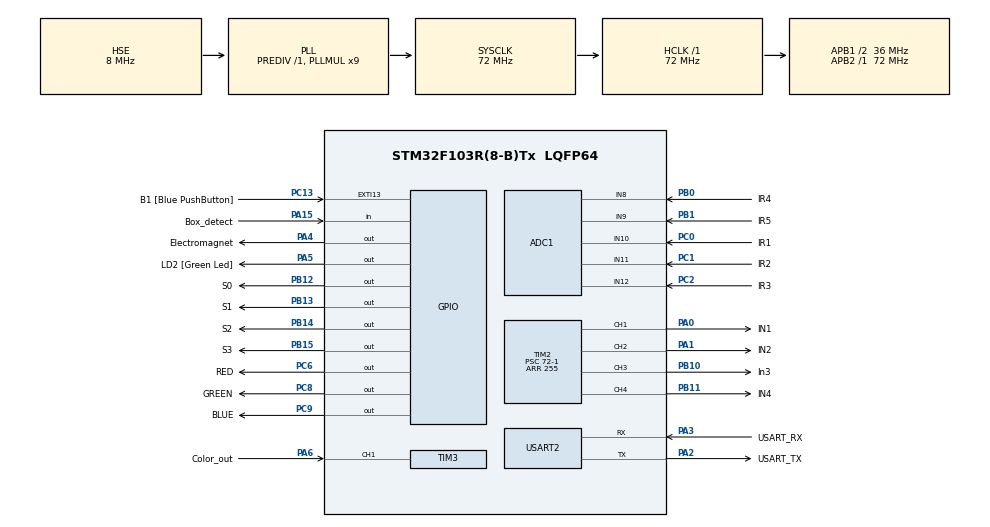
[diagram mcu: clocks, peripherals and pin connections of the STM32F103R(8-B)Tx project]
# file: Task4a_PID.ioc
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ADC1.Channel-0\#ChannelRegularConversion=ADC_CHANNEL_10
ADC1.Channel-1\#ChannelRegularConversion=ADC_CHANNEL_11
ADC1.Channel-2\#ChannelRegularConversion=ADC_CHANNEL_12
ADC1.Channel-3\#ChannelRegularConversion=ADC_CHANNEL_8
ADC1.Channel-4\#ChannelRegularConversion=ADC_CHANNEL_9
ADC1.ContinuousConvMode=ENABLE
ADC1.NbrOfConversion=5
ADC1.NbrOfConversionFlag=1
ADC1.Rank-0\#ChannelRegularConversion=1
ADC1.Rank-1\#ChannelRegularConversion=2
ADC1.Rank-2\#ChannelRegularConversion=3
ADC1.Rank-3\#ChannelRegularConversion=4
ADC1.Rank-4\#ChannelRegularConversion=5
ADC1.SamplingTime-0\#ChannelRegularConversion=ADC_SAMPLETIME_55CYCLES_5
ADC1.SamplingTime-1\#ChannelRegularConversion=ADC_SAMPLETIME_55CYCLES_5
ADC1.SamplingTime-2\#ChannelRegularConversion=ADC_SAMPLETIME_55CYCLES_5
ADC1.SamplingTime-3\#ChannelRegularConversion=ADC_SAMPLETIME_55CYCLES_5
ADC1.SamplingTime-4\#ChannelRegularConversion=ADC_SAMPLETIME_55CYCLES_5
ADC1.master=1
Dma.ADC1.0.Direction=DMA_PERIPH_TO_MEMORY
Dma.ADC1.0.Instance=DMA1_Channel1
Dma.ADC1.0.MemDataAlignment=DMA_MDATAALIGN_HALFWORD
Dma.ADC1.0.MemInc=DMA_MINC_ENABLE
Dma.ADC1.0.Mode=DMA_CIRCULAR
Dma.ADC1.0.PeriphDataAlignment=DMA_PDATAALIGN_HALFWORD
Dma.ADC1.0.PeriphInc=DMA_PINC_DISABLE
Dma.ADC1.0.Priority=DMA_PRIORITY_LOW
Dma.Request0=ADC1
Mcu.Family=STM32F1
Mcu.Name=STM32F103R(8-B)Tx
Mcu.Package=LQFP64
NVIC.ADC1_2_IRQn=true\:0\:0\:false\:false\:true\:true\:true\:true
NVIC.DMA1_Channel1_IRQn=true\:0\:0\:false\:false\:true\:false\:true\:true
NVIC.EXTI15_10_IRQn=true\:0\:0\:false\:false\:true\:true\:true\:true
NVIC.PriorityGroup=NVIC_PRIORITYGROUP_4
NVIC.TIM3_IRQn=true\:0\:0\:false\:false\:true\:true\:true\:true
PA0-WKUP.GPIO_Label=IN1
PA0-WKUP.Signal=S_TIM2_CH1_ETR
PA1.GPIO_Label=IN2
PA1.Signal=S_TIM2_CH2
PA13.GPIO_Label=TMS
PA13.Mode=Serial_Wire
PA13.Signal=SYS_JTMS-SWDIO
PA14.GPIO_Label=TCK
PA14.Mode=Serial_Wire
PA14.Signal=SYS_JTCK-SWCLK
PA15.GPIO_Label=Box_detect
PA15.Signal=GPIO_Input
PA2.GPIO_Label=USART_TX
PA2.GPIO_Mode=GPIO_MODE_AF_PP
PA2.GPIO_PuPd=GPIO_NOPULL
PA2.GPIO_Speed=GPIO_SPEED_FREQ_LOW
PA2.Mode=Asynchronous
PA2.Signal=USART2_TX
PA3.GPIO_Label=USART_RX
PA3.GPIO_Mode=GPIO_MODE_AF_PP
PA3.GPIO_PuPd=GPIO_NOPULL
PA3.GPIO_Speed=GPIO_SPEED_FREQ_LOW
PA3.Mode=Asynchronous
PA3.Signal=USART2_RX
PA4.GPIO_Label=Electromagnet
PA4.Signal=GPIO_Output
PA5.GPIO_Label=LD2 [Green Led]
PA5.GPIO_ModeDefaultOutputPP=GPIO_MODE_OUTPUT_PP
PA5.GPIO_PuPd=GPIO_NOPULL
PA5.GPIO_Speed=GPIO_SPEED_FREQ_LOW
PA5.Signal=GPIO_Output
PA6.GPIO_Label=Color_out
PA6.Signal=S_TIM3_CH1
PB0.GPIO_Label=IR4
PB0.Signal=ADCx_IN8
PB1.GPIO_Label=IR5
PB1.Signal=ADCx_IN9
PB10.GPIO_Label=In3
PB10.Signal=S_TIM2_CH3
PB11.GPIO_Label=IN4
PB11.Signal=S_TIM2_CH4
PB12.GPIO_Label=S0
PB12.Signal=GPIO_Output
PB13.GPIO_Label=S1
PB13.Signal=GPIO_Output
PB14.GPIO_Label=S2
PB14.Signal=GPIO_Output
PB15.GPIO_Label=S3
PB15.Signal=GPIO_Output
PB3.GPIO_Label=SWO
PB3.Signal=SYS_JTDO-TRACESWO
PC0.GPIO_Label=IR1
PC0.Signal=ADCx_IN10
PC1.GPIO_Label=IR2
PC1.Signal=ADCx_IN11
PC13-TAMPER-RTC.GPIO_Label=B1 [Blue PushButton]
PC13-TAMPER-RTC.GPIO_PuPd=GPIO_NOPULL
PC13-TAMPER-RTC.Signal=GPXTI13
PC14-OSC32_IN.Mode=LSE-External-Oscillator
PC14-OSC32_IN.Signal=RCC_OSC32_IN
PC15-OSC32_OUT.Mode=LSE-External-Oscillator
PC15-OSC32_OUT.Signal=RCC_OSC32_OUT
PC2.GPIO_Label=IR3
PC2.Signal=ADCx_IN12
PC6.GPIO_Label=RED
PC6.Signal=GPIO_Output
PC8.GPIO_Label=GREEN
PC8.Signal=GPIO_Output
PC9.GPIO_Label=BLUE
PC9.Signal=GPIO_Output
PD0-OSC_IN.Mode=HSE-External-Clock-Source
PD0-OSC_IN.Signal=RCC_OSC_IN
PD1-OSC_OUT.Mode=HSE-External-Clock-Source
PD1-OSC_OUT.Signal=RCC_OSC_OUT
ProjectManager.HeapSize=0x200
ProjectManager.StackSize=0x400
ProjectManager.TargetToolchain=STM32CubeIDE
RCC.ADCPresc=RCC_ADCPCLK2_DIV6
RCC.AHBFreq_Value=72000000
RCC.APB1CLKDivider=RCC_HCLK_DIV2
RCC.APB1Freq_Value=36000000
RCC.APB1TimFreq_Value=72000000
RCC.APB2Freq_Value=72000000
RCC.APB2TimFreq_Value=72000000
RCC.HCLKFreq_Value=72000000
RCC.PLLMUL=RCC_PLL_MUL9
RCC.PLLSourceVirtual=RCC_PLLSOURCE_HSE
RCC.RTCClockSelection=RCC_RTCCLKSOURCE_LSE
RCC.SYSCLKFreq_VALUE=72000000
RCC.SYSCLKSource=RCC_SYSCLKSOURCE_PLLCLK
RCC.USBFreq_Value=72000000
SH.ADCx_IN10.0=ADC1_IN10,IN10
SH.ADCx_IN11.0=ADC1_IN11,IN11
SH.ADCx_IN12.0=ADC1_IN12,IN12
SH.ADCx_IN8.0=ADC1_IN8,IN8
SH.ADCx_IN9.0=ADC1_IN9,IN9
SH.S_TIM2_CH1_ETR.0=TIM2_CH1,PWM Generation1 CH1
SH.S_TIM2_CH2.0=TIM2_CH2,PWM Generation2 CH2
SH.S_TIM2_CH3.0=TIM2_CH3,PWM Generation3 CH3
SH.S_TIM2_CH4.0=TIM2_CH4,PWM Generation4 CH4
SH.S_TIM3_CH1.0=TIM3_CH1,Input_Capture1_from_TI1
TIM2.Channel-PWM\ Generation1\ CH1=TIM_CHANNEL_1
TIM2.Channel-PWM\ Generation2\ CH2=TIM_CHANNEL_2
TIM2.Channel-PWM\ Generation3\ CH3=TIM_CHANNEL_3
TIM2.Channel-PWM\ Generation4\ CH4=TIM_CHANNEL_4
TIM2.Period=255
TIM2.Prescaler=72-1
TIM3.Channel-Input_Capture1_from_TI1=TIM_CHANNEL_1
USART2.VirtualMode=VM_ASYNC
board=NUCLEO-F103RB

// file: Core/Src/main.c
/* USER CODE BEGIN Header */
/**
  ******************************************************************************
  * @file : main.c
  * @brief : CropDrop Bot (CB) - eYRC 2025-26 PID Line Follower
  * White line on black surface - Continuous following (no stops)
  ******************************************************************************
  */
/* USER CODE END Header */
#include "main.h"
#include <stdio.h>
#include <stdlib.h>
#include <string.h>
#include <math.h>
/* USER CODE BEGIN Includes */
#include <stdbool.h>
/* USER CODE END Includes */
/* USER CODE BEGIN PD */
// PID parameters - tuned for better responsiveness on turns: higher KP for quicker correction
#define KP 115.7f // Increased to 50 for faster response to errors
#define KI 0.028f // Keep low to avoid windup
#define KD 200.0f // Good damping
// Base speed increased for momentum
#define BASE_SPEED 50 // Higher base for speed on straights
// Reduced base speed during sharp turns, but higher than before for control
#define TURN_BASE_SPEED 400 // Increased from 30 to maintain some speed in turns
// Increased turn difference for sharper turns
#define MAX_TURN_DIFF 500 // Slightly higher for aggressive corrections
// Turn boost: lower threshold to trigger earlier, higher factor for stronger turns
#define SHARP_TURN_THRESHOLD 0.8f // Lowered to trigger boost sooner
#define TURN_BOOST_FACTOR 2.2f // Increased for more aggressive turning
// Position smoothing filter
#define FILTER_ALPHA 0.45f // 95% previous + 5% new for smooth position
// Calibration (tune black_min/white_max based on your hardware readings if needed)
const uint16_t black_min[5] = {2250, 2400, 2600, 2400, 1400};
const uint16_t white_max[5] = {4095, 3800, 4095, 4095, 4095};
// Weights: negative left, positive right
const float weights[5] = {-2.0f, -1.0f, 0.0f, 1.0f, 2.0f};
// Loop timing: slightly faster for responsiveness
#define LOOP_DELAY_MS 8
// Lost line threshold: lowered to be less sensitive (allow lower den at turns)
#define LINE_LOST_THRESHOLD 15.0f // Lowered to handle thin lines/turns better
// Integral windup limit: tighter
#define INTEGRAL_LIMIT 25.0f // Slightly tighter
// Stop condition: unchanged
#define WHITE_THRESHOLD 100.0f
/* USER CODE END PD */
ADC_HandleTypeDef hadc1;
DMA_HandleTypeDef hdma_adc1;
TIM_HandleTypeDef htim2;
TIM_HandleTypeDef htim3;
UART_HandleTypeDef huart2;
/* USER CODE BEGIN PV */
uint16_t adcBuffer[5];
float reflectance[5];
float integral = 0.0f;
float prev_error = 0.0f;
float filtered_position = 0.0f;
volatile uint8_t adc_complete = 0;
/* USER CODE END PV */
void SystemClock_Config(void);
static void MX_GPIO_Init(void);
static void MX_DMA_Init(void);
static void MX_USART2_UART_Init(void);
static void MX_TIM3_Init(void);
static void MX_ADC1_Init(void);
static void MX_TIM2_Init(void);
/* USER CODE BEGIN PFP */
float NormalizeReflectance(int idx, uint16_t raw);
float CalculatePosition(float *den_out);
void SetMotorSpeeds(int16_t left, int16_t right);
char* FloatToString(float value, int precision, char* buffer, int buf_size); // New: Custom float printer
/* USER CODE END PFP */
/* USER CODE BEGIN 0 */
float NormalizeReflectance(int idx, uint16_t raw)
{
  uint16_t min_v = black_min[idx];
  uint16_t max_v = white_max[idx];
  if (raw <= min_v) return 0.0f;
  if (raw >= max_v) return 100.0f;
  return ((float)(raw - min_v) / (max_v - min_v)) * 100.0f;
}
float CalculatePosition(float *den_out)
{
  float num = 0.0f, den = 0.0f;
  for (int i = 0; i < 5; i++) {
    float strength = reflectance[i];
    num += strength * weights[i];
    den += strength;
  }
  *den_out = den;
  float raw_pos = (den < LINE_LOST_THRESHOLD) ? filtered_position : (den > 0.0f ? (num / den) : 0.0f);
  // Rate limit: slightly looser for turns (allow up to 0.6 jump)
  float delta = raw_pos - filtered_position;
  if (fabsf(delta) > 0.6f) {
    raw_pos = filtered_position + (delta > 0 ? 0.6f : -0.6f);
  }
  // Apply low-pass filter for smoothness
  filtered_position = FILTER_ALPHA * filtered_position + (1.0f - FILTER_ALPHA) * raw_pos;
  return filtered_position;
}
void SetMotorSpeeds(int16_t left, int16_t right)
{
  if (left < 0) {
    __HAL_TIM_SET_COMPARE(&htim2, TIM_CHANNEL_1, 0);
    __HAL_TIM_SET_COMPARE(&htim2, TIM_CHANNEL_2, (uint8_t)(-left));
  } else {
    __HAL_TIM_SET_COMPARE(&htim2, TIM_CHANNEL_1, (uint8_t)left);
    __HAL_TIM_SET_COMPARE(&htim2, TIM_CHANNEL_2, 0);
  }
  if (right < 0) {
    __HAL_TIM_SET_COMPARE(&htim2, TIM_CHANNEL_3, 0);
    __HAL_TIM_SET_COMPARE(&htim2, TIM_CHANNEL_4, (uint8_t)(-right));
  } else {
    __HAL_TIM_SET_COMPARE(&htim2, TIM_CHANNEL_3, (uint8_t)right);
    __HAL_TIM_SET_COMPARE(&htim2, TIM_CHANNEL_4, 0);
  }
}

// New function: Custom float to string converter (avoids %f issues in lightweight printf)
char* FloatToString(float value, int precision, char* buffer, int buf_size) {
  if (precision < 0) precision = 0;
  if (precision > 6) precision = 6; // Limit to reasonable precision

  // Handle sign
  bool negative = value < 0.0f;
  if (negative) value = -value;

  // Extract integer part
  int int_part = (int)value;
  value -= int_part;

  // Extract fractional part (scale to int)
  int frac_part = (int)(value * powf(10.0f, precision) + 0.5f); // Round

  // Build string
  if (negative) {
    snprintf(buffer, buf_size, "-%d.%0*d", int_part, precision, frac_part);
  } else {
    snprintf(buffer, buf_size, "%d.%0*d", int_part, precision, frac_part);
  }

  // Handle -0.00
  if (int_part == 0 && frac_part == 0 && negative) {
    buffer[0] = '0';
    buffer[1] = '.';
    for (int i = 0; i < precision; i++) buffer[2 + i] = '0';
    buffer[2 + precision] = '\0';
  }

  return buffer;
}
/* USER CODE END 0 */
int main(void)
{
  HAL_Init();
  SystemClock_Config();
  MX_GPIO_Init();
  MX_DMA_Init();
  MX_USART2_UART_Init();
  MX_TIM3_Init();
  MX_ADC1_Init();
  MX_TIM2_Init();
  /* USER CODE BEGIN 2 */
  HAL_TIM_PWM_Start(&htim2, TIM_CHANNEL_1);
  HAL_TIM_PWM_Start(&htim2, TIM_CHANNEL_2);
  HAL_TIM_PWM_Start(&htim2, TIM_CHANNEL_3);
  HAL_TIM_PWM_Start(&htim2, TIM_CHANNEL_4);
  HAL_ADC_Start_DMA(&hadc1, (uint32_t*)adcBuffer, 5);
  /* USER CODE END 2 */
  /* Infinite loop */
  while (1)
  {
    if (adc_complete) {
        adc_complete = 0;
        for (int i = 0; i < 5; i++) {
            reflectance[i] = NormalizeReflectance(i, adcBuffer[i]);
        }
        // Check for stop condition: all sensors detect white (transition to full white area)
        bool stop_condition = true;
        for (int i = 0; i < 5; i++) {
            if (reflectance[i] < WHITE_THRESHOLD) {
                stop_condition = false;
                break;
            }
        }
        float den_local = 0.0f;
        char buf[300]; // Increased buffer size for safety with manual strings
        char pos_str[20], err_str[20], pid_str[20], den_str[20]; // Temp buffers for floats
        if (stop_condition) {
            // Stop the bot
            SetMotorSpeeds(0, 0);
            // Use integer-only snprintf for stop message
            snprintf(buf, sizeof(buf),
                     "IR 1=%4d IR 2=%4d IR 3=%4d IR 4=%4d IR 5=%4d | STOPPED (ALL WHITE)\r\n",
                     adcBuffer[0], adcBuffer[1], adcBuffer[2],
                     adcBuffer[3], adcBuffer[4]);
            HAL_UART_Transmit(&huart2, (uint8_t*)buf, strlen(buf), HAL_MAX_DELAY);
        } else {
            // Continue line following
            float position = CalculatePosition(&den_local);
            // Error sign: position positive = line right = turn right (left faster, right slower)
            float error = position; // Keep as is - confirmed correct
            float dt = LOOP_DELAY_MS / 1000.0f;
            // Anti-windup: reset integral if error too large (prevents over-correction at turns)
            if (fabsf(error) > 1.5f) {
                integral = 0.0f;
            }
            integral += error * dt;
            if (fabsf(integral) > INTEGRAL_LIMIT)
                integral = (integral > 0.0f ? INTEGRAL_LIMIT : -INTEGRAL_LIMIT);
            float derivative = (error - prev_error) / dt;
            prev_error = error;
            float pid_out = KP * error + KI * integral + KD * derivative;
            // Sharp turn boost: trigger earlier and stronger for better turn response
            bool is_sharp_turn = fabsf(error) > SHARP_TURN_THRESHOLD;
            if (is_sharp_turn) {
                pid_out *= TURN_BOOST_FACTOR;
            }
            // Base speed: reduce only on very sharp turns
            int16_t current_base_speed = is_sharp_turn ? TURN_BASE_SPEED : BASE_SPEED;
            int16_t left_speed = current_base_speed + (int16_t)pid_out;
            int16_t right_speed = current_base_speed - (int16_t)pid_out;
            // Straight-line boost: slight increase when centered (for speed on straights)
            if (fabsf(error) < 0.3f) {
                left_speed = BASE_SPEED + (int16_t)pid_out;
                right_speed = BASE_SPEED - (int16_t)pid_out;
            }
            // Limit differential
            int16_t diff = left_speed - right_speed;
            if (diff > MAX_TURN_DIFF) {
                left_speed = current_base_speed + MAX_TURN_DIFF / 2;
                right_speed = current_base_speed - MAX_TURN_DIFF / 2;
            } else if (diff < -MAX_TURN_DIFF) {
                left_speed = current_base_speed - MAX_TURN_DIFF / 2;
                right_speed = current_base_speed + MAX_TURN_DIFF / 2;
            }
            // Minimal reverse for recovery
            if (left_speed < -20) left_speed = -10;
            if (right_speed < -20) right_speed = -10;
            // Clamp
            if (left_speed > 255) left_speed = 255;
            if (right_speed > 255) right_speed = 255;
            SetMotorSpeeds(left_speed, right_speed);

            // Convert floats to strings using custom function
            FloatToString(position, 2, pos_str, sizeof(pos_str)); // %.2f
            FloatToString(error, 2, err_str, sizeof(err_str)); // %.2f
            FloatToString(pid_out, 1, pid_str, sizeof(pid_str)); // %.1f
            FloatToString(den_local, 1, den_str, sizeof(den_str)); // %.1f

            // Build the full string with integer snprintf + manual float inserts
            snprintf(buf, sizeof(buf),
                     "IR 1=%4d IR 2=%4d IR 3=%4d IR 4=%4d IR 5=%4d | Pos=%s Err=%s PID=%s L=%d R=%d Den=%s\r\n",
                     adcBuffer[0], adcBuffer[1], adcBuffer[2],
                     adcBuffer[3], adcBuffer[4], pos_str, err_str, pid_str, left_speed, right_speed, den_str);
            HAL_UART_Transmit(&huart2, (uint8_t*)buf, strlen(buf), HAL_MAX_DELAY);
        }
    }
    HAL_Delay(LOOP_DELAY_MS);
  }
}
void SystemClock_Config(void)
{
  RCC_OscInitTypeDef RCC_OscInitStruct = {0};
  RCC_ClkInitTypeDef RCC_ClkInitStruct = {0};
  RCC_PeriphCLKInitTypeDef PeriphClkInit = {0};
  RCC_OscInitStruct.OscillatorType = RCC_OSCILLATORTYPE_HSE;
  RCC_OscInitStruct.HSEState = RCC_HSE_BYPASS;
  RCC_OscInitStruct.HSEPredivValue = RCC_HSE_PREDIV_DIV1;
  RCC_OscInitStruct.HSIState = RCC_HSI_ON;
  RCC_OscInitStruct.PLL.PLLState = RCC_PLL_ON;
  RCC_OscInitStruct.PLL.PLLSource = RCC_PLLSOURCE_HSE;
  RCC_OscInitStruct.PLL.PLLMUL = RCC_PLL_MUL9;
  if (HAL_RCC_OscConfig(&RCC_OscInitStruct) != HAL_OK)
  {
    Error_Handler();
  }
  RCC_ClkInitStruct.ClockType = RCC_CLOCKTYPE_HCLK|RCC_CLOCKTYPE_SYSCLK
                              |RCC_CLOCKTYPE_PCLK1|RCC_CLOCKTYPE_PCLK2;
  RCC_ClkInitStruct.SYSCLKSource = RCC_SYSCLKSOURCE_PLLCLK;
  RCC_ClkInitStruct.AHBCLKDivider = RCC_SYSCLK_DIV1;
  RCC_ClkInitStruct.APB1CLKDivider = RCC_HCLK_DIV2;
  RCC_ClkInitStruct.APB2CLKDivider = RCC_HCLK_DIV1;
  if (HAL_RCC_ClockConfig(&RCC_ClkInitStruct, FLASH_LATENCY_2) != HAL_OK)
  {
    Error_Handler();
  }
  PeriphClkInit.PeriphClockSelection = RCC_PERIPHCLK_ADC;
  PeriphClkInit.AdcClockSelection = RCC_ADCPCLK2_DIV6;
  if (HAL_RCCEx_PeriphCLKConfig(&PeriphClkInit) != HAL_OK)
  {
    Error_Handler();
  }
}
static void MX_ADC1_Init(void)
{
  ADC_ChannelConfTypeDef sConfig = {0};
  hadc1.Instance = ADC1;
  hadc1.Init.ScanConvMode = ADC_SCAN_ENABLE;
  hadc1.Init.ContinuousConvMode = ENABLE;
  hadc1.Init.DiscontinuousConvMode = DISABLE;
  hadc1.Init.ExternalTrigConv = ADC_SOFTWARE_START;
  hadc1.Init.DataAlign = ADC_DATAALIGN_RIGHT;
  hadc1.Init.NbrOfConversion = 5;
  if (HAL_ADC_Init(&hadc1) != HAL_OK)
  {
    Error_Handler();
  }
  sConfig.Channel = ADC_CHANNEL_10;
  sConfig.Rank = ADC_REGULAR_RANK_1;
  sConfig.SamplingTime = ADC_SAMPLETIME_55CYCLES_5;
  if (HAL_ADC_ConfigChannel(&hadc1, &sConfig) != HAL_OK)
  {
    Error_Handler();
  }
  sConfig.Channel = ADC_CHANNEL_11;
  sConfig.Rank = ADC_REGULAR_RANK_2;
  if (HAL_ADC_ConfigChannel(&hadc1, &sConfig) != HAL_OK)
  {
    Error_Handler();
  }
  sConfig.Channel = ADC_CHANNEL_12;
  sConfig.Rank = ADC_REGULAR_RANK_3;
  if (HAL_ADC_ConfigChannel(&hadc1, &sConfig) != HAL_OK)
  {
    Error_Handler();
  }
  sConfig.Channel = ADC_CHANNEL_8;
  sConfig.Rank = ADC_REGULAR_RANK_4;
  if (HAL_ADC_ConfigChannel(&hadc1, &sConfig) != HAL_OK)
  {
    Error_Handler();
  }
  sConfig.Channel = ADC_CHANNEL_9;
  sConfig.Rank = ADC_REGULAR_RANK_5;
  if (HAL_ADC_ConfigChannel(&hadc1, &sConfig) != HAL_OK)
  {
    Error_Handler();
  }
}
static void MX_TIM2_Init(void)
{
  TIM_MasterConfigTypeDef sMasterConfig = {0};
  TIM_OC_InitTypeDef sConfigOC = {0};
  htim2.Instance = TIM2;
  htim2.Init.Prescaler = 72-1;
  htim2.Init.CounterMode = TIM_COUNTERMODE_UP;
  htim2.Init.Period = 255;
  htim2.Init.ClockDivision = TIM_CLOCKDIVISION_DIV1;
  htim2.Init.AutoReloadPreload = TIM_AUTORELOAD_PRELOAD_DISABLE;
  if (HAL_TIM_PWM_Init(&htim2) != HAL_OK)
  {
    Error_Handler();
  }
  sMasterConfig.MasterOutputTrigger = TIM_TRGO_RESET;
  sMasterConfig.MasterSlaveMode = TIM_MASTERSLAVEMODE_DISABLE;
  if (HAL_TIMEx_MasterConfigSynchronization(&htim2, &sMasterConfig) != HAL_OK)
  {
    Error_Handler();
  }
  sConfigOC.OCMode = TIM_OCMODE_PWM1;
  sConfigOC.Pulse = 0;
  sConfigOC.OCPolarity = TIM_OCPOLARITY_HIGH;
  sConfigOC.OCFastMode = TIM_OCFAST_DISABLE;
  if (HAL_TIM_PWM_ConfigChannel(&htim2, &sConfigOC, TIM_CHANNEL_1) != HAL_OK)
  {
    Error_Handler();
  }
  if (HAL_TIM_PWM_ConfigChannel(&htim2, &sConfigOC, TIM_CHANNEL_2) != HAL_OK)
  {
    Error_Handler();
  }
  if (HAL_TIM_PWM_ConfigChannel(&htim2, &sConfigOC, TIM_CHANNEL_3) != HAL_OK)
  {
    Error_Handler();
  }
  if (HAL_TIM_PWM_ConfigChannel(&htim2, &sConfigOC, TIM_CHANNEL_4) != HAL_OK)
  {
    Error_Handler();
  }
  HAL_TIM_MspPostInit(&htim2);
}
static void MX_TIM3_Init(void)
{
  TIM_MasterConfigTypeDef sMasterConfig = {0};
  TIM_IC_InitTypeDef sConfigIC = {0};
  htim3.Instance = TIM3;
  htim3.Init.Prescaler = 72-1;
  htim3.Init.CounterMode = TIM_COUNTERMODE_UP;
  htim3.Init.Period = 65535;
  htim3.Init.ClockDivision = TIM_CLOCKDIVISION_DIV1;
  htim3.Init.AutoReloadPreload = TIM_AUTORELOAD_PRELOAD_DISABLE;
  if (HAL_TIM_IC_Init(&htim3) != HAL_OK)
  {
    Error_Handler();
  }
  sMasterConfig.MasterOutputTrigger = TIM_TRGO_RESET;
  sMasterConfig.MasterSlaveMode = TIM_MASTERSLAVEMODE_DISABLE;
  if (HAL_TIMEx_MasterConfigSynchronization(&htim3, &sMasterConfig) != HAL_OK)
  {
    Error_Handler();
  }
  sConfigIC.ICPolarity = TIM_INPUTCHANNELPOLARITY_RISING;
  sConfigIC.ICSelection = TIM_ICSELECTION_DIRECTTI;
  sConfigIC.ICPrescaler = TIM_ICPSC_DIV1;
  sConfigIC.ICFilter = 0;
  if (HAL_TIM_IC_ConfigChannel(&htim3, &sConfigIC, TIM_CHANNEL_1) != HAL_OK)
  {
    Error_Handler();
  }
}
static void MX_USART2_UART_Init(void)
{
  huart2.Instance = USART2;
  huart2.Init.BaudRate = 115200;
  huart2.Init.WordLength = UART_WORDLENGTH_8B;
  huart2.Init.StopBits = UART_STOPBITS_1;
  huart2.Init.Parity = UART_PARITY_NONE;
  huart2.Init.Mode = UART_MODE_TX_RX;
  huart2.Init.HwFlowCtl = UART_HWCONTROL_NONE;
  huart2.Init.OverSampling = UART_OVERSAMPLING_16;
  if (HAL_UART_Init(&huart2) != HAL_OK)
  {
    Error_Handler();
  }
}
static void MX_DMA_Init(void)
{
  __HAL_RCC_DMA1_CLK_ENABLE();
  HAL_NVIC_SetPriority(DMA1_Channel1_IRQn, 0, 0);
  HAL_NVIC_EnableIRQ(DMA1_Channel1_IRQn);
}
static void MX_GPIO_Init(void)
{
  GPIO_InitTypeDef GPIO_InitStruct = {0};
  __HAL_RCC_GPIOC_CLK_ENABLE();
  __HAL_RCC_GPIOD_CLK_ENABLE();
  __HAL_RCC_GPIOA_CLK_ENABLE();
  __HAL_RCC_GPIOB_CLK_ENABLE();
  HAL_GPIO_WritePin(GPIOA, Electromagnet_Pin|LD2_Pin, GPIO_PIN_RESET);
  HAL_GPIO_WritePin(GPIOB, S0_Pin|S1_Pin|S2_Pin|S3_Pin, GPIO_PIN_RESET);
  HAL_GPIO_WritePin(GPIOC, RED_Pin|GREEN_Pin|BLUE_Pin, GPIO_PIN_RESET);
  GPIO_InitStruct.Pin = B1_Pin;
  GPIO_InitStruct.Mode = GPIO_MODE_IT_RISING;
  GPIO_InitStruct.Pull = GPIO_NOPULL;
  HAL_GPIO_Init(B1_GPIO_Port, &GPIO_InitStruct);
  GPIO_InitStruct.Pin = Electromagnet_Pin|LD2_Pin;
  GPIO_InitStruct.Mode = GPIO_MODE_OUTPUT_PP;
  GPIO_InitStruct.Pull = GPIO_NOPULL;
  GPIO_InitStruct.Speed = GPIO_SPEED_FREQ_LOW;
  HAL_GPIO_Init(GPIOA, &GPIO_InitStruct);
  GPIO_InitStruct.Pin = S0_Pin|S1_Pin|S2_Pin|S3_Pin;
  GPIO_InitStruct.Mode = GPIO_MODE_OUTPUT_PP;
  GPIO_InitStruct.Pull = GPIO_NOPULL;
  GPIO_InitStruct.Speed = GPIO_SPEED_FREQ_LOW;
  HAL_GPIO_Init(GPIOB, &GPIO_InitStruct);
  GPIO_InitStruct.Pin = RED_Pin|GREEN_Pin|BLUE_Pin;
  GPIO_InitStruct.Mode = GPIO_MODE_OUTPUT_PP;
  GPIO_InitStruct.Pull = GPIO_NOPULL;
  GPIO_InitStruct.Speed = GPIO_SPEED_FREQ_LOW;
  HAL_GPIO_Init(GPIOC, &GPIO_InitStruct);
  GPIO_InitStruct.Pin = Box_detect_Pin;
  GPIO_InitStruct.Mode = GPIO_MODE_INPUT;
  GPIO_InitStruct.Pull = GPIO_NOPULL;
  HAL_GPIO_Init(Box_detect_GPIO_Port, &GPIO_InitStruct);
  HAL_NVIC_SetPriority(EXTI15_10_IRQn, 0, 0);
  HAL_NVIC_EnableIRQ(EXTI15_10_IRQn);
}
/* USER CODE BEGIN 4 */
void HAL_ADC_ConvCpltCallback(ADC_HandleTypeDef* hadc)
{
    if (hadc->Instance == ADC1) {
        adc_complete = 1;
    }
}
/* USER CODE END 4 */
void Error_Handler(void)
{
  __disable_irq();
  while (1)
  {
  }
}
